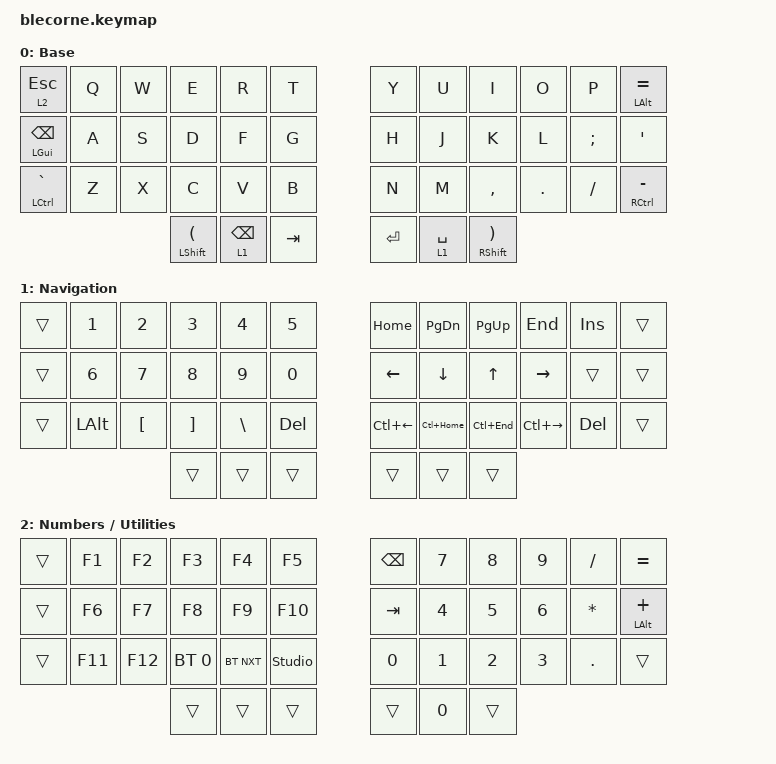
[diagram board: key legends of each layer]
/* Generated by scripts/generate-corne-keymap.py; edit layout.json instead. */
#include <behaviors.dtsi>
#include <dt-bindings/zmk/keys.h>
#include <dt-bindings/zmk/bt.h>

/ {
    chosen {
        zmk,physical-layout = &foostan_corne_6col_layout;
    };

    behaviors {
        outside_mod: outside_mod {
            compatible = "zmk,behavior-hold-tap";
            #binding-cells = <2>;
            flavor = "hold-preferred";
            tapping-term-ms = <200>;
            quick-tap-ms = <200>;
            bindings = <&kp>, <&kp>;
            display-name = "Outside Mod-Tap";
        };
        space_cadet: space_cadet {
            compatible = "zmk,behavior-hold-tap";
            #binding-cells = <2>;
            flavor = "hold-preferred";
            tapping-term-ms = <200>;
            quick-tap-ms = <0>;
            bindings = <&kp>, <&kp>;
            display-name = "Space Cadet";
        };
        thumb_lt: thumb_layer_tap {
            compatible = "zmk,behavior-hold-tap";
            #binding-cells = <2>;
            flavor = "balanced";
            tapping-term-ms = <200>;
            quick-tap-ms = <200>;
            bindings = <&mo>, <&kp>;
            display-name = "Thumb Layer-Tap";
        };
        esc_lt: escape_layer_tap {
            compatible = "zmk,behavior-hold-tap";
            #binding-cells = <2>;
            flavor = "hold-preferred";
            tapping-term-ms = <200>;
            quick-tap-ms = <0>;
            bindings = <&mo>, <&kp>;
            display-name = "Escape Layer-Tap";
        };
    };

    keymap {
        compatible = "zmk,keymap";
        layer_0 {
            display-name = "Base";
            bindings = <
                &esc_lt 2 ESC  &kp Q  &kp W  &kp E  &kp R  &kp T    &kp Y  &kp U  &kp I  &kp O  &kp P  &outside_mod LEFT_ALT EQUAL
                &outside_mod LEFT_GUI BSPC  &kp A  &kp S  &kp D  &kp F  &kp G    &kp H  &kp J  &kp K  &kp L  &kp SEMI  &kp SQT
                &outside_mod LEFT_CONTROL GRAVE  &kp Z  &kp X  &kp C  &kp V  &kp B    &kp N  &kp M  &kp COMMA  &kp DOT  &kp FSLH  &outside_mod RIGHT_CONTROL MINUS
                &space_cadet LSHFT LPAR  &thumb_lt 1 BSPC  &kp TAB    &kp RET  &thumb_lt 1 SPACE  &space_cadet RSHFT RPAR
            >;
        };
        layer_1 {
            display-name = "Navigation";
            bindings = <
                &trans  &kp N1  &kp N2  &kp N3  &kp N4  &kp N5    &kp HOME  &kp PG_DN  &kp PG_UP  &kp END  &kp INS  &trans
                &trans  &kp N6  &kp N7  &kp N8  &kp N9  &kp N0    &kp LEFT  &kp DOWN  &kp UP  &kp RIGHT  &trans  &trans
                &trans  &kp LALT  &kp LBKT  &kp RBKT  &kp BSLH  &kp DEL    &kp LC(LEFT)  &kp LC(HOME)  &kp LC(END)  &kp LC(RIGHT)  &kp DEL  &trans
                &trans  &trans  &trans    &trans  &trans  &trans
            >;
        };
        layer_2 {
            display-name = "Numbers / Utilities";
            bindings = <
                &trans  &kp F1  &kp F2  &kp F3  &kp F4  &kp F5    &kp BSPC  &kp N7  &kp N8  &kp N9  &kp FSLH  &kp EQUAL
                &trans  &kp F6  &kp F7  &kp F8  &kp F9  &kp F10    &kp TAB  &kp N4  &kp N5  &kp N6  &kp STAR  &outside_mod LEFT_ALT PLUS
                &trans  &kp F11  &kp F12  &bt BT_SEL 0  &bt BT_NXT  &studio_unlock    &kp N0  &kp N1  &kp N2  &kp N3  &kp DOT  &trans
                &trans  &trans  &trans    &trans  &kp N0  &trans
            >;
        };
    };
};
